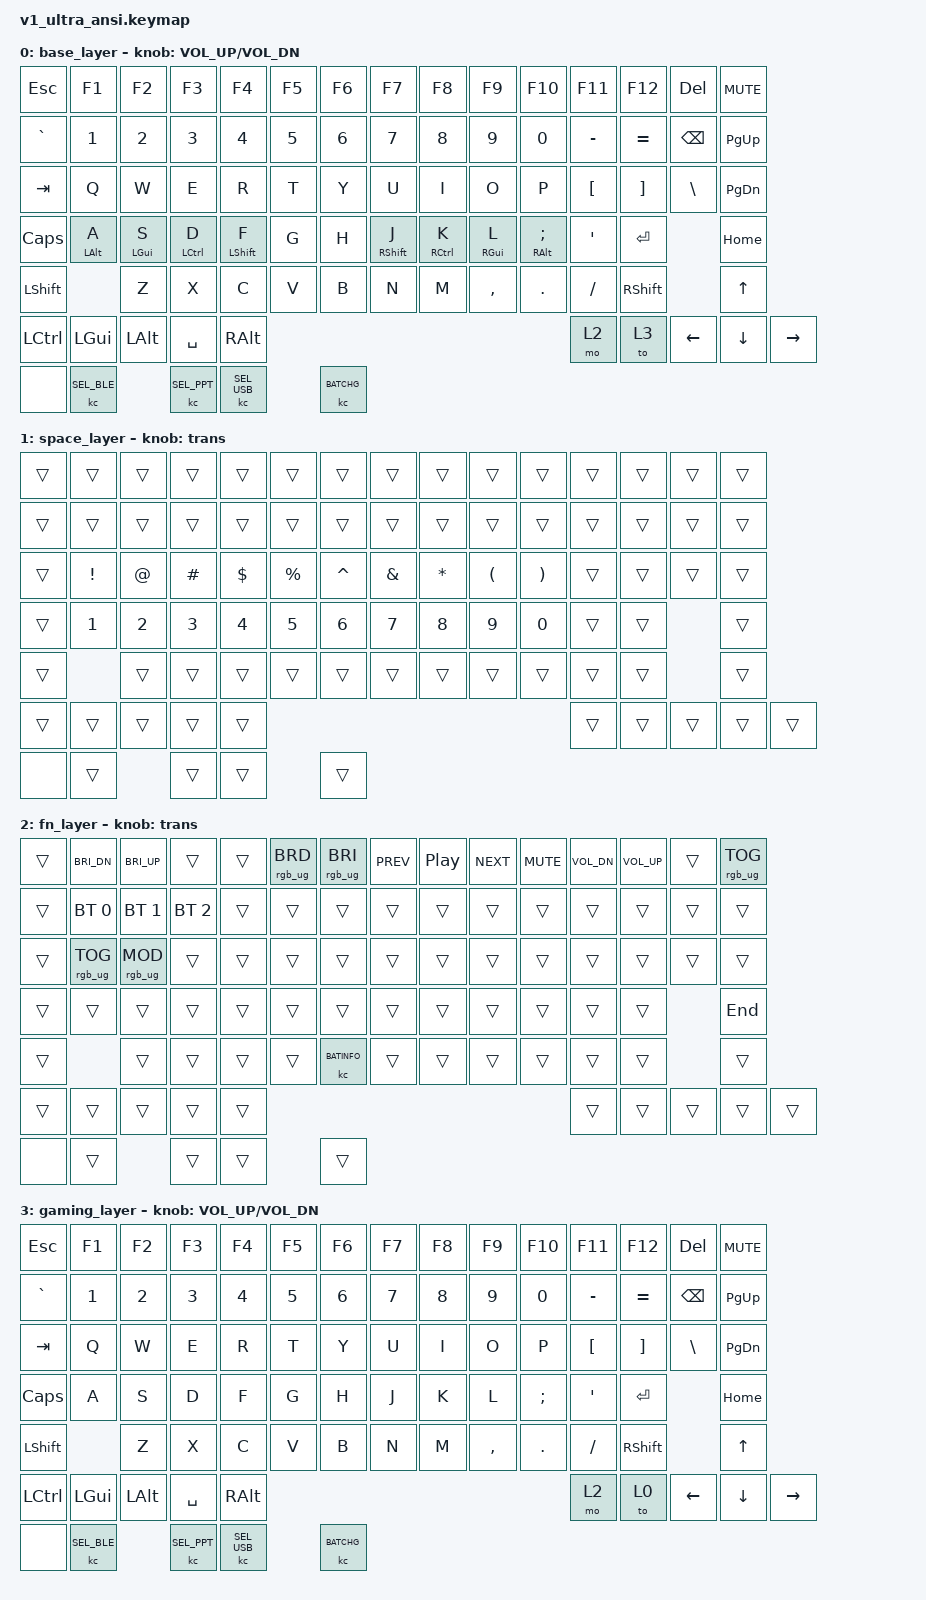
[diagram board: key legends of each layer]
#include <behaviors.dtsi>
#include <dt-bindings/zmk/keys.h>
#include <dt-bindings/zmk/bt.h>
#include <dt-bindings/zmk/rgb.h>
#include <dt-bindings/zmk/outputs.h>

/ {
    behaviors {
        hrm: homerow_mods {
            compatible = "zmk,behavior-hold-tap";
            label = "HOMEROW_MODS";
            #binding-cells = <2>;
            tapping-term-ms = <200>;
            quick-tap-ms = <200>; // Allow for holding a key to spam with intention
            require-prior-idle-ms = <125>; // Prevent errors from fast typing
            flavor = "balanced";
            bindings = <&kp>, <&kp>;
        };
    };

    keymap {
        compatible = "zmk,keymap";

        // =========================================================================
        // LAYER 0: BASE HRM
        // Replace the A,S,D,F and J,K,L,SEMI with your hml/hmr behaviors
        // =========================================================================
        base_layer {
            bindings = <
    &kp ESC     &kp F1      &kp F2      &kp F3       &kp F4       &kp F5     &kp F6     &kp F7       &kp F8       &kp F9      &kp F10        &kp F11    &kp F12    &kp DEL    &kp C_MUTE
    &kp GRAVE   &kp N1      &kp N2      &kp N3       &kp N4       &kp N5     &kp N6     &kp N7       &kp N8       &kp N9      &kp N0         &kp MINUS  &kp EQUAL  &kp BSPC   &kp PG_UP
    &kp TAB     &kp Q       &kp W       &kp E        &kp R        &kp T      &kp Y      &kp U        &kp I        &kp O       &kp P          &kp LBKT   &kp RBKT   &kp BSLH   &kp PG_DN
    &kp CLCK    &hrm LALT A &hrm LGUI S &hrm LCTRL D &hrm LSHFT F &kp G      &kp H      &hrm RSHFT J &hrm RCTRL K &hrm RGUI L &hrm RALT SEMI &kp SQT    &kp RET               &kp HOME
    &kp LSHFT           &kp Z       &kp X         &kp C       &kp V     &kp B      &kp N          &kp M      &kp COMMA    &kp DOT       &kp FSLH    &kp RSHFT             &kp UP
    &kp LCTRL  &kp LGUI   &kp LALT                                    &kp SPACE                                           &kp RALT      &mo 2       &to 3      &kp LEFT   &kp DOWN   &kp RIGHT
    // Keychron Hardware Control
    &none      &kc SEL_BLE           &kc SEL_PPT           &kc SEL_USB           &kc BATCHG
            >;
            sensor-bindings = <&inc_dec_kp C_VOL_UP C_VOL_DN>;
        };

        // =========================================================================
        // LAYER 1: SPACE / NUMBER LAYER
        // Accessible by holding Space (or whichever trigger you choose)
        // =========================================================================
        space_layer {
            bindings = <
    &trans     &trans     &trans     &trans     &trans     &trans     &trans     &trans     &trans     &trans     &trans     &trans     &trans     &trans     &trans
    &trans     &trans     &trans     &trans     &trans     &trans     &trans     &trans     &trans     &trans     &trans     &trans     &trans     &trans     &trans
    &trans     &kp EXCL   &kp AT     &kp HASH   &kp DLLR   &kp PRCNT  &kp CARET  &kp AMPS   &kp STAR   &kp LPAR   &kp RPAR   &trans     &trans     &trans     &trans
    &trans     &kp N1     &kp N2     &kp N3     &kp N4     &kp N5     &kp N6     &kp N7     &kp N8     &kp N9     &kp N0     &trans     &trans                &trans
    &trans                &trans     &trans     &trans     &trans     &trans     &trans     &trans     &trans     &trans     &trans     &trans                &trans
    &trans     &trans     &trans                           &trans                                      &trans     &trans     &trans     &trans     &trans     &trans
    // Keychron Hardware Control
    &none      &trans           &trans           &trans           &trans
            >;
            sensor-bindings = <&trans>;
        };

        // =========================================================================
        // LAYER 2: FN LAYER
        // Media controls, RGB controls, Bluetooth Profiles
        // =========================================================================
        fn_layer {
            bindings = <
    &trans     &kp C_BRI_DN    &kp C_BRI_UP    &trans       &trans   &rgb_ug RGB_BRD &rgb_ug RGB_BRI  &kp C_PREV &kp C_PP   &kp C_NEXT &kp C_MUTE &kp C_VOL_DN &kp C_VOL_UP &trans &rgb_ug RGB_TOG
    &trans     &bt BT_SEL 0    &bt BT_SEL 1    &bt BT_SEL 2 &trans   &trans          &trans           &trans     &trans     &trans     &trans     &trans     &trans     &trans     &trans
    &trans     &rgb_ug RGB_TOG &rgb_ug RGB_MOD &trans       &trans   &trans          &trans           &trans     &trans     &trans     &trans     &trans     &trans     &trans     &trans
    &trans     &trans     &trans     &trans     &trans     &trans    &trans          &trans           &trans     &trans     &trans     &trans     &trans                &kp END
    &trans                &trans     &trans     &trans     &trans    &kc BATINFO &trans     &trans     &trans     &trans     &trans     &trans                &trans
    &trans     &trans     &trans                           &trans                                      &trans     &trans     &trans     &trans     &trans     &trans
    // Keychron Hardware Control
    &none      &trans           &trans           &trans           &trans
            >;
            sensor-bindings = <&trans>;
        };

        // =========================================================================
        // LAYER 3: GAMING LAYER
        // Standard QWERTY with NO hold-taps, ensuring zero input delay
        // =========================================================================
        gaming_layer {
            bindings = <
    &kp ESC    &kp F1     &kp F2     &kp F3     &kp F4     &kp F5     &kp F6     &kp F7     &kp F8     &kp F9     &kp F10    &kp F11    &kp F12    &kp DEL    &kp C_MUTE
    &kp GRAVE  &kp N1     &kp N2     &kp N3     &kp N4     &kp N5     &kp N6     &kp N7     &kp N8     &kp N9     &kp N0     &kp MINUS  &kp EQUAL  &kp BSPC   &kp PG_UP
    &kp TAB    &kp Q      &kp W      &kp E      &kp R      &kp T      &kp Y      &kp U      &kp I      &kp O      &kp P      &kp LBKT   &kp RBKT   &kp BSLH   &kp PG_DN
    &kp CLCK   &kp A      &kp S      &kp D      &kp F      &kp G      &kp H      &kp J      &kp K      &kp L      &kp SEMI   &kp SQT    &kp RET               &kp HOME
    &kp LSHFT             &kp Z      &kp X      &kp C      &kp V      &kp B      &kp N      &kp M      &kp COMMA  &kp DOT    &kp FSLH   &kp RSHFT             &kp UP
    &kp LCTRL  &kp LGUI   &kp LALT                         &kp SPACE                                   &kp RALT   &mo 2      &to 0      &kp LEFT   &kp DOWN   &kp RIGHT
    // Keychron Hardware Control
    &none      &kc SEL_BLE           &kc SEL_PPT           &kc SEL_USB           &kc BATCHG
            >;
            sensor-bindings = <&inc_dec_kp C_VOL_UP C_VOL_DN>;
        };
    };
};
